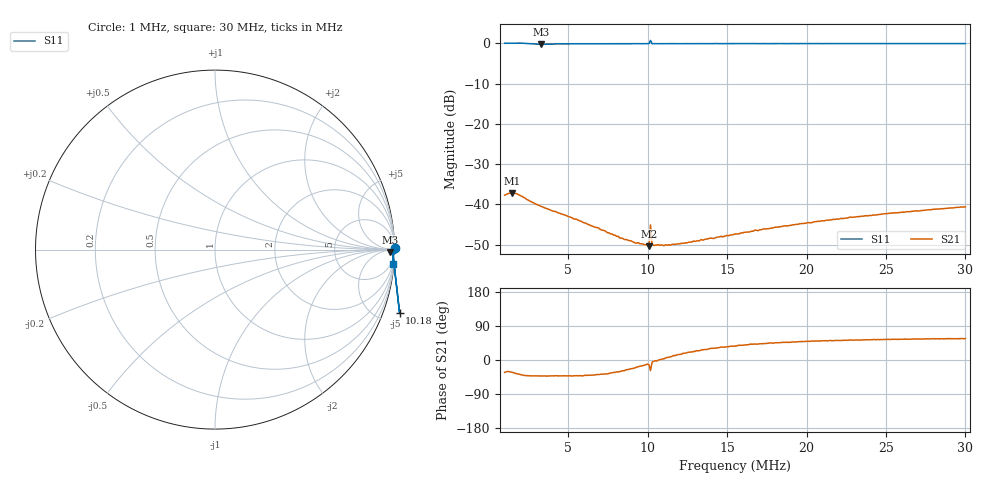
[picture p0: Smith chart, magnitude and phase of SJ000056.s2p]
!File created by NanoVNA-F V2
# Hz S RI R 50
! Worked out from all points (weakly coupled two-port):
!   301 points, 1 MHz to 30 MHz, reference 50 ohm
!   highest |S21| = -37.14 dB at 1.483 MHz (marker M1); lowest = -50.4 dB at 10.09 MHz (marker M2)
!   lowest |S11| = -0.2 dB at 3.32 MHz (marker M3), VSWR 87.11, Z = 2.96e+03 - j2.03e+03 ohm
!   |S11| at or under -10 dB: nowhere
!   S12 and S22 are empty: the file has one direction only
!   S11 on the Smith chart (normalised r, x): 1 MHz: open; 10.18 MHz: -1.45, -5.65; 30 MHz: 2, -25
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1000000  1.002 0.00692  0.0109 -0.00707  0 0  0 0
1483330  1.006 -0.00386  0.0117 -0.00746  0 0  0 0
1773328  1.007 -0.0106  0.0109 -0.00797  0 0  0 0
2449990  0.9931 -0.0288  0.00854 -0.00753  0 0  0 0
3319984  0.9772 -0.0154  0.00698 -0.00631  0 0  0 0
5833300  0.9876 -0.0117  0.00459 -0.00411  0 0  0 0
8153284  0.991 -0.0176  0.00341 -0.0021  0 0  0 0
8249950  0.9893 -0.0178  0.00328 -0.00193  0 0  0 0
1.00866e7  0.9913 -0.0232  0.00296 -0.000647  0 0  0 0
1.018327e7  1.028 -0.3518  0.0049 -0.00262  0 0  0 0
1.027994e7  0.991 -0.0239  0.00316 -0.000328  0 0  0 0
1.06666e7  0.9915 -0.0252  0.00316 -3.5e-05  0 0  0 0
1.143993e7  0.9919 -0.0274  0.00308 0.000461  0 0  0 0
1.298658e7  0.9902 -0.0319  0.00318 0.00135  0 0  0 0
1.337325e7  0.9905 -0.0318  0.00328 0.00162  0 0  0 0
1.414658e7  0.9928 -0.0344  0.00323 0.00193  0 0  0 0
1.54999e7  0.9928 -0.0382  0.00343 0.00258  0 0  0 0
1.859321e7  0.992 -0.0486  0.00373 0.00395  0 0  0 0
2.03332e7  0.992 -0.0525  0.0038 0.00456  0 0  0 0
2.274985e7  0.9924 -0.0598  0.00422 0.00555  0 0  0 0
2.51665e7  0.992 -0.0657  0.00448 0.0063  0 0  0 0
2.99998e7  0.9903 -0.0791  0.00516 0.00777  0 0  0 0
